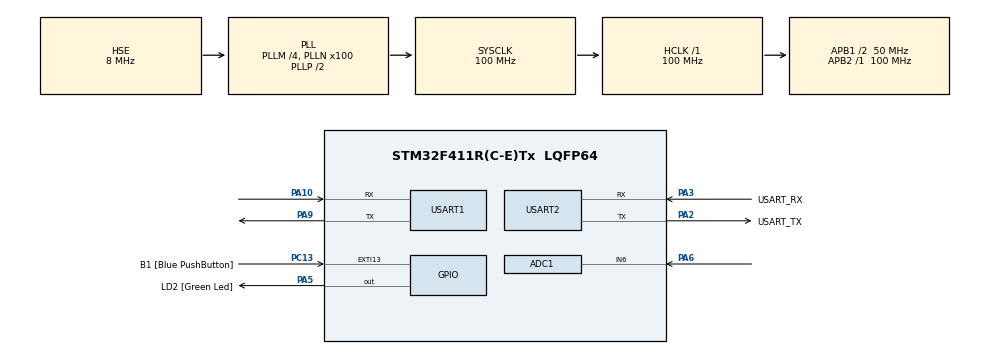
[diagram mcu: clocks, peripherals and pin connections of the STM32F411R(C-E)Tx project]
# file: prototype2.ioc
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ADC1.Channel-0\#ChannelRegularConversion=ADC_CHANNEL_6
ADC1.ContinuousConvMode=ENABLE
ADC1.DMAContinuousRequests=ENABLE
ADC1.NbrOfConversionFlag=1
ADC1.Rank-0\#ChannelRegularConversion=1
ADC1.SamplingTime-0\#ChannelRegularConversion=ADC_SAMPLETIME_3CYCLES
ADC1.master=1
Dma.ADC1.0.Direction=DMA_PERIPH_TO_MEMORY
Dma.ADC1.0.FIFOMode=DMA_FIFOMODE_DISABLE
Dma.ADC1.0.Instance=DMA2_Stream0
Dma.ADC1.0.MemDataAlignment=DMA_MDATAALIGN_HALFWORD
Dma.ADC1.0.MemInc=DMA_MINC_ENABLE
Dma.ADC1.0.Mode=DMA_CIRCULAR
Dma.ADC1.0.PeriphDataAlignment=DMA_PDATAALIGN_HALFWORD
Dma.ADC1.0.PeriphInc=DMA_PINC_DISABLE
Dma.ADC1.0.Priority=DMA_PRIORITY_LOW
Dma.Request0=ADC1
Mcu.Family=STM32F4
Mcu.Name=STM32F411R(C-E)Tx
Mcu.Package=LQFP64
NVIC.DMA2_Stream0_IRQn=true\:0\:0\:false\:false\:true\:false\:true\:true
NVIC.PriorityGroup=NVIC_PRIORITYGROUP_2
NVIC.TIM3_IRQn=true\:0\:0\:false\:false\:true\:true\:true\:true
NVIC.USART1_IRQn=true\:2\:0\:true\:false\:true\:true\:true\:true
NVIC.USART2_IRQn=true\:0\:0\:false\:false\:true\:true\:true\:true
PA10.Mode=Asynchronous
PA10.Signal=USART1_RX
PA13.GPIO_Label=TMS
PA13.Mode=Serial_Wire
PA13.Signal=SYS_JTMS-SWDIO
PA14.GPIO_Label=TCK
PA14.Mode=Serial_Wire
PA14.Signal=SYS_JTCK-SWCLK
PA2.GPIO_Label=USART_TX
PA2.Mode=Asynchronous
PA2.Signal=USART2_TX
PA3.GPIO_Label=USART_RX
PA3.Mode=Asynchronous
PA3.Signal=USART2_RX
PA5.GPIO_Label=LD2 [Green Led]
PA5.Signal=GPIO_Output
PA6.Signal=ADCx_IN6
PA9.Mode=Asynchronous
PA9.Signal=USART1_TX
PB3.GPIO_Label=SWO
PB3.Signal=SYS_JTDO-SWO
PC13-ANTI_TAMP.GPIO_Label=B1 [Blue PushButton]
PC13-ANTI_TAMP.GPIO_ModeDefaultEXTI=GPIO_MODE_IT_FALLING
PC13-ANTI_TAMP.Signal=GPXTI13
PC14-OSC32_IN.Mode=LSE-External-Oscillator
PC14-OSC32_IN.Signal=RCC_OSC32_IN
PC15-OSC32_OUT.Mode=LSE-External-Oscillator
PC15-OSC32_OUT.Signal=RCC_OSC32_OUT
PH0\ -\ OSC_IN.Mode=HSE-External-Clock-Source
PH0\ -\ OSC_IN.Signal=RCC_OSC_IN
PH1\ -\ OSC_OUT.Mode=HSE-External-Clock-Source
PH1\ -\ OSC_OUT.Signal=RCC_OSC_OUT
ProjectManager.HeapSize=0x200
ProjectManager.StackSize=0x400
ProjectManager.TargetToolchain=STM32CubeIDE
RCC.48MHZClocksFreq_Value=50000000
RCC.AHBFreq_Value=100000000
RCC.APB1CLKDivider=RCC_HCLK_DIV2
RCC.APB1Freq_Value=50000000
RCC.APB1TimFreq_Value=100000000
RCC.APB2Freq_Value=100000000
RCC.APB2TimFreq_Value=100000000
RCC.CortexFreq_Value=100000000
RCC.FLatency-AdvancedSettings=FLASH_LATENCY_3
RCC.HCLKFreq_Value=100000000
RCC.HSE_VALUE=8000000
RCC.HSI_VALUE=16000000
RCC.PLLM=4
RCC.PLLN=100
RCC.PLLSourceVirtual=RCC_PLLSOURCE_HSE
RCC.SYSCLKFreq_VALUE=100000000
RCC.SYSCLKSource=RCC_SYSCLKSOURCE_PLLCLK
RCC.VCOOutputFreq_Value=200000000
SH.ADCx_IN6.0=ADC1_IN6,IN6
TIM2.Period=999
TIM2.Prescaler=1599
TIM3.Period=49999
TIM3.Prescaler=1999
USART1.VirtualMode=VM_ASYNC
USART2.VirtualMode=VM_ASYNC
VP_TIM2_VS_ClockSourceINT.Mode=Internal
VP_TIM3_VS_ClockSourceINT.Mode=Internal
board=NUCLEO-F411RE

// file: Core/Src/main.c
/* USER CODE BEGIN Header */
/**
  ******************************************************************************
  * @file           : main.c
  * @brief          : Main program body
  ******************************************************************************
  * @attention
  *
  * Copyright (c) 2024 STMicroelectronics.
  * All rights reserved.
  *
  * This software is licensed under terms that can be found in the LICENSE file
  * in the root directory of this software component.
  * If no LICENSE file comes with this software, it is provided AS-IS.
  *
  ******************************************************************************
  */
/* USER CODE END Header */
#include "main.h"

ADC_HandleTypeDef hadc1;
DMA_HandleTypeDef hdma_adc1;

TIM_HandleTypeDef htim2;
TIM_HandleTypeDef htim3;

UART_HandleTypeDef huart1;
UART_HandleTypeDef huart2;

/* USER CODE BEGIN PV */
char msg[100];
int msg2[100];
uint16_t raw;
char buf[256]="";
char buf2[3]="";
int waterLimit=30;
int state=0;
int currentWater=0;
/* USER CODE END PV */

void SystemClock_Config(void);
static void MX_GPIO_Init(void);
static void MX_DMA_Init(void);
static void MX_USART2_UART_Init(void);
static void MX_TIM3_Init(void);
static void MX_TIM2_Init(void);
static void MX_ADC1_Init(void);
static void MX_USART1_UART_Init(void);

int main(void)
{
  /* USER CODE BEGIN 1 */
	 uint16_t timer_val;
	 char uart_buf[50];
	   int uart_buf_len;

  /* USER CODE END 1 */

  /* MCU Configuration--------------------------------------------------------*/

  /* Reset of all peripherals, Initializes the Flash interface and the Systick. */
  HAL_Init();

  /* Configure the system clock */
  SystemClock_Config();

  /* Initialize all configured peripherals */
  MX_GPIO_Init();
  MX_DMA_Init();
  MX_USART2_UART_Init();
  MX_TIM3_Init();
  MX_TIM2_Init();
  MX_ADC1_Init();
  MX_USART1_UART_Init();
  /* USER CODE BEGIN 2 */
  HAL_TIM_Base_Start_IT(&htim3);
  HAL_TIM_PWM_Start(&htim2, TIM_CHANNEL_3);
  timer_val = __HAL_TIM_GET_COUNTER(&htim3);
  HAL_UART_Transmit_IT(&huart1, msg2, 8);
  HAL_UART_Receive_IT(&huart1, buf2, 3);
  int x;
  uint16_t time,oldtime=0;
   char i;
    int j=0;
    char buf[256];
    uint16_t water_level;
    int my_32bit_int;

    timer_val = __HAL_TIM_GET_COUNTER(&htim3);
    //TIM2->CCR3=50;
  /* USER CODE END 2 */

  /* Infinite loop */
  /* USER CODE BEGIN WHILE */
  while (1)
  {

  // HAL_UART_Transmit(&huart2,msg ,strlen(msg),1000);
if(currentWater>95){//overflow
	state=2;

	 HAL_GPIO_WritePin(GPIOA, GPIO_PIN_5, GPIO_PIN_SET);

}
else if(currentWater<95&&state==2){//stop overflow

	 HAL_GPIO_WritePin(GPIOA, GPIO_PIN_5, GPIO_PIN_RESET);
	 state=0;
}
 if(waterLimit<currentWater&&state==0){ //water>limit

	 HAL_GPIO_WritePin(GPIOA, GPIO_PIN_5, GPIO_PIN_SET);
	 state=1;
 }
 else if(waterLimit>currentWater&&state==1 ){//idle;
	 HAL_GPIO_WritePin(GPIOA, GPIO_PIN_5, GPIO_PIN_RESET);
	 state=0;
 }
    /* USER CODE END WHILE */

  }
}

void SystemClock_Config(void)
{
  RCC_OscInitTypeDef RCC_OscInitStruct = {0};
  RCC_ClkInitTypeDef RCC_ClkInitStruct = {0};

  /** Configure the main internal regulator output voltage
  */
  __HAL_RCC_PWR_CLK_ENABLE();
  __HAL_PWR_VOLTAGESCALING_CONFIG(PWR_REGULATOR_VOLTAGE_SCALE1);

  /** Initializes the RCC Oscillators according to the specified parameters
  * in the RCC_OscInitTypeDef structure.
  */
  RCC_OscInitStruct.OscillatorType = RCC_OSCILLATORTYPE_HSE;
  RCC_OscInitStruct.HSEState = RCC_HSE_BYPASS;
  RCC_OscInitStruct.PLL.PLLState = RCC_PLL_ON;
  RCC_OscInitStruct.PLL.PLLSource = RCC_PLLSOURCE_HSE;
  RCC_OscInitStruct.PLL.PLLM = 4;
  RCC_OscInitStruct.PLL.PLLN = 100;
  RCC_OscInitStruct.PLL.PLLP = RCC_PLLP_DIV2;
  RCC_OscInitStruct.PLL.PLLQ = 4;
  if (HAL_RCC_OscConfig(&RCC_OscInitStruct) != HAL_OK)
  {
    Error_Handler();
  }

  /** Initializes the CPU, AHB and APB buses clocks
  */
  RCC_ClkInitStruct.ClockType = RCC_CLOCKTYPE_HCLK|RCC_CLOCKTYPE_SYSCLK
                              |RCC_CLOCKTYPE_PCLK1|RCC_CLOCKTYPE_PCLK2;
  RCC_ClkInitStruct.SYSCLKSource = RCC_SYSCLKSOURCE_PLLCLK;
  RCC_ClkInitStruct.AHBCLKDivider = RCC_SYSCLK_DIV1;
  RCC_ClkInitStruct.APB1CLKDivider = RCC_HCLK_DIV2;
  RCC_ClkInitStruct.APB2CLKDivider = RCC_HCLK_DIV1;

  if (HAL_RCC_ClockConfig(&RCC_ClkInitStruct, FLASH_LATENCY_3) != HAL_OK)
  {
    Error_Handler();
  }
}

static void MX_ADC1_Init(void)
{

  ADC_ChannelConfTypeDef sConfig = {0};

  /** Configure the global features of the ADC (Clock, Resolution, Data Alignment and number of conversion)
  */
  hadc1.Instance = ADC1;
  hadc1.Init.ClockPrescaler = ADC_CLOCK_SYNC_PCLK_DIV4;
  hadc1.Init.Resolution = ADC_RESOLUTION_12B;
  hadc1.Init.ScanConvMode = DISABLE;
  hadc1.Init.ContinuousConvMode = ENABLE;
  hadc1.Init.DiscontinuousConvMode = DISABLE;
  hadc1.Init.ExternalTrigConvEdge = ADC_EXTERNALTRIGCONVEDGE_NONE;
  hadc1.Init.ExternalTrigConv = ADC_SOFTWARE_START;
  hadc1.Init.DataAlign = ADC_DATAALIGN_RIGHT;
  hadc1.Init.NbrOfConversion = 1;
  hadc1.Init.DMAContinuousRequests = ENABLE;
  hadc1.Init.EOCSelection = ADC_EOC_SINGLE_CONV;
  if (HAL_ADC_Init(&hadc1) != HAL_OK)
  {
    Error_Handler();
  }

  /** Configure for the selected ADC regular channel its corresponding rank in the sequencer and its sample time.
  */
  sConfig.Channel = ADC_CHANNEL_6;
  sConfig.Rank = 1;
  sConfig.SamplingTime = ADC_SAMPLETIME_3CYCLES;
  if (HAL_ADC_ConfigChannel(&hadc1, &sConfig) != HAL_OK)
  {
    Error_Handler();
  }

}

static void MX_TIM2_Init(void)
{

  TIM_ClockConfigTypeDef sClockSourceConfig = {0};
  TIM_MasterConfigTypeDef sMasterConfig = {0};

  htim2.Instance = TIM2;
  htim2.Init.Prescaler = 1599;
  htim2.Init.CounterMode = TIM_COUNTERMODE_UP;
  htim2.Init.Period = 999;
  htim2.Init.ClockDivision = TIM_CLOCKDIVISION_DIV1;
  htim2.Init.AutoReloadPreload = TIM_AUTORELOAD_PRELOAD_DISABLE;
  if (HAL_TIM_Base_Init(&htim2) != HAL_OK)
  {
    Error_Handler();
  }
  sClockSourceConfig.ClockSource = TIM_CLOCKSOURCE_INTERNAL;
  if (HAL_TIM_ConfigClockSource(&htim2, &sClockSourceConfig) != HAL_OK)
  {
    Error_Handler();
  }
  sMasterConfig.MasterOutputTrigger = TIM_TRGO_RESET;
  sMasterConfig.MasterSlaveMode = TIM_MASTERSLAVEMODE_DISABLE;
  if (HAL_TIMEx_MasterConfigSynchronization(&htim2, &sMasterConfig) != HAL_OK)
  {
    Error_Handler();
  }

}

static void MX_TIM3_Init(void)
{

  TIM_ClockConfigTypeDef sClockSourceConfig = {0};
  TIM_MasterConfigTypeDef sMasterConfig = {0};

  htim3.Instance = TIM3;
  htim3.Init.Prescaler = 1999;
  htim3.Init.CounterMode = TIM_COUNTERMODE_UP;
  htim3.Init.Period = 49999;
  htim3.Init.ClockDivision = TIM_CLOCKDIVISION_DIV1;
  htim3.Init.AutoReloadPreload = TIM_AUTORELOAD_PRELOAD_DISABLE;
  if (HAL_TIM_Base_Init(&htim3) != HAL_OK)
  {
    Error_Handler();
  }
  sClockSourceConfig.ClockSource = TIM_CLOCKSOURCE_INTERNAL;
  if (HAL_TIM_ConfigClockSource(&htim3, &sClockSourceConfig) != HAL_OK)
  {
    Error_Handler();
  }
  sMasterConfig.MasterOutputTrigger = TIM_TRGO_RESET;
  sMasterConfig.MasterSlaveMode = TIM_MASTERSLAVEMODE_DISABLE;
  if (HAL_TIMEx_MasterConfigSynchronization(&htim3, &sMasterConfig) != HAL_OK)
  {
    Error_Handler();
  }

}

static void MX_USART1_UART_Init(void)
{

  huart1.Instance = USART1;
  huart1.Init.BaudRate = 115200;
  huart1.Init.WordLength = UART_WORDLENGTH_8B;
  huart1.Init.StopBits = UART_STOPBITS_1;
  huart1.Init.Parity = UART_PARITY_NONE;
  huart1.Init.Mode = UART_MODE_TX_RX;
  huart1.Init.HwFlowCtl = UART_HWCONTROL_NONE;
  huart1.Init.OverSampling = UART_OVERSAMPLING_16;
  if (HAL_UART_Init(&huart1) != HAL_OK)
  {
    Error_Handler();
  }

}

static void MX_USART2_UART_Init(void)
{

  huart2.Instance = USART2;
  huart2.Init.BaudRate = 115200;
  huart2.Init.WordLength = UART_WORDLENGTH_8B;
  huart2.Init.StopBits = UART_STOPBITS_1;
  huart2.Init.Parity = UART_PARITY_NONE;
  huart2.Init.Mode = UART_MODE_TX_RX;
  huart2.Init.HwFlowCtl = UART_HWCONTROL_NONE;
  huart2.Init.OverSampling = UART_OVERSAMPLING_16;
  if (HAL_UART_Init(&huart2) != HAL_OK)
  {
    Error_Handler();
  }

}

static void MX_DMA_Init(void)
{

  /* DMA controller clock enable */
  __HAL_RCC_DMA2_CLK_ENABLE();

  /* DMA interrupt init */
  /* DMA2_Stream0_IRQn interrupt configuration */
  HAL_NVIC_SetPriority(DMA2_Stream0_IRQn, 0, 0);
  HAL_NVIC_EnableIRQ(DMA2_Stream0_IRQn);

}

static void MX_GPIO_Init(void)
{
  GPIO_InitTypeDef GPIO_InitStruct = {0};

  /* GPIO Ports Clock Enable */
  __HAL_RCC_GPIOC_CLK_ENABLE();
  __HAL_RCC_GPIOH_CLK_ENABLE();
  __HAL_RCC_GPIOA_CLK_ENABLE();
  __HAL_RCC_GPIOB_CLK_ENABLE();

  /*Configure GPIO pin Output Level */
  HAL_GPIO_WritePin(LD2_GPIO_Port, LD2_Pin, GPIO_PIN_RESET);

  /*Configure GPIO pin : B1_Pin */
  GPIO_InitStruct.Pin = B1_Pin;
  GPIO_InitStruct.Mode = GPIO_MODE_IT_FALLING;
  GPIO_InitStruct.Pull = GPIO_NOPULL;
  HAL_GPIO_Init(B1_GPIO_Port, &GPIO_InitStruct);

  /*Configure GPIO pin : LD2_Pin */
  GPIO_InitStruct.Pin = LD2_Pin;
  GPIO_InitStruct.Mode = GPIO_MODE_OUTPUT_PP;
  GPIO_InitStruct.Pull = GPIO_NOPULL;
  GPIO_InitStruct.Speed = GPIO_SPEED_FREQ_LOW;
  HAL_GPIO_Init(LD2_GPIO_Port, &GPIO_InitStruct);

}

/* USER CODE BEGIN 4 */
void HAL_TIM_PeriodElapsedCallback(TIM_HandleTypeDef *htim)
{
int msg3[100];
int a;
  // Check which version of the timer triggered this callback and toggle LED
  if (htim == &htim3 )
  {

	   HAL_ADC_Start(&hadc1);
	   HAL_ADC_PollForConversion(&hadc1, HAL_MAX_DELAY);
	   if(HAL_ADC_GetValue(&hadc1)<1200){
		   msg2[0]=0;
	   }
	   else{
		   a=((HAL_ADC_GetValue(&hadc1)-1200)*100)/850;
		   msg2[0]=a;
	   }
	   currentWater=msg2[0];
           msg2[1]=state;
		  char data[50];
				      sprintf(data,"%d|%d|", msg2[0],msg2[1]);
				      HAL_UART_Transmit(&huart1, data, strlen(data), HAL_MAX_DELAY);

  }
}
void HAL_UART_TxCpltCallback(UART_HandleTypeDef *huart)
{

}

void HAL_UART_RxCpltCallback(UART_HandleTypeDef *huart)
{  if (huart == &huart1){
char msg3[100];
    //HAL_GPIO_TogglePin (GPIOA, GPIO_PIN_5);
	  waterLimit=atoi(buf2);
	  sprintf(msg3,"%d\n\r",waterLimit);
	  //HAL_UART_Transmit_IT(&huart2, msg3,strlen(msg3));
	  //HAL_UART_Transmit_IT(&huart2, buf2,3);
	  HAL_UART_Receive_IT(&huart1, buf2, 3);

}
}
/* USER CODE END 4 */

void Error_Handler(void)
{
  __disable_irq();
  while (1)
  {
  }
}
